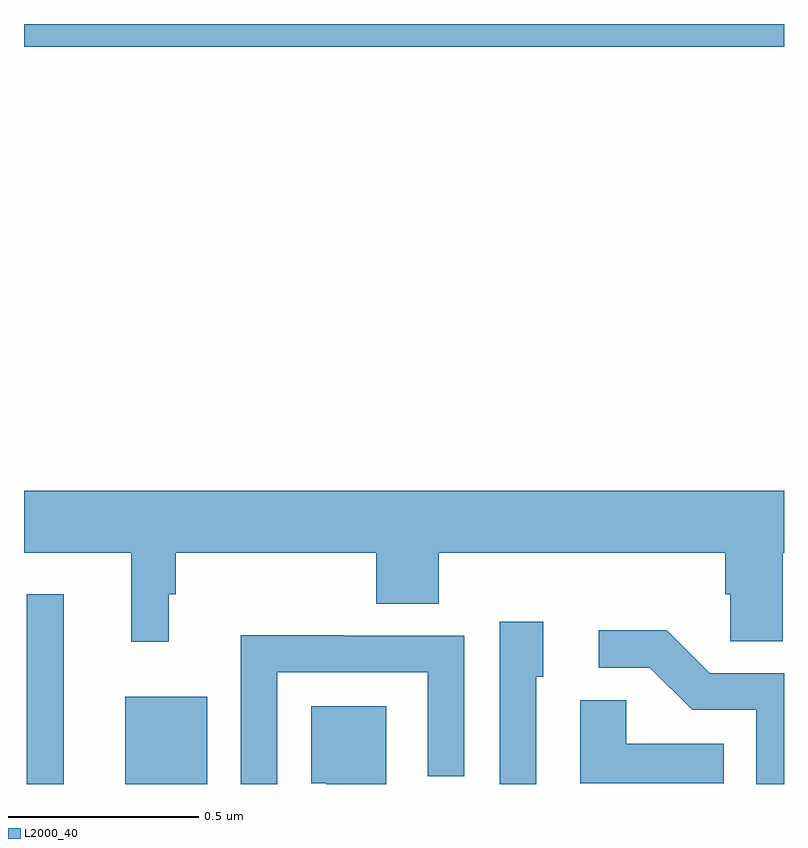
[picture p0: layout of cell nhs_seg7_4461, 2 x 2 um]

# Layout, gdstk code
import gdstk
lib = gdstk.Library(unit=1e-6, precision=1e-09)
def R(c, l, rs):  # rectangles x0, y0, x1, y1
    for r in rs: c.add(gdstk.rectangle(r[:2], r[2:], *l))
def P(c, l, *ps):  # polygons
    for p in ps: c.add(gdstk.Polygon(p, *l))
L2000_40 = (2000, 40)

nhs_seg7_4461 = lib.new_cell('nhs_seg7_4461')
R(nhs_seg7_4461, L2000_40, [(173.007,1008,173.104,1008.499), (173.267,1008,173.482,1008.229), (173,1009.94,175,1010)])
P(nhs_seg7_4461, L2000_40, [(173.381,1008.5),(173.399,1008.5),(173.399,1008.608),(173.927,1008.608),(173.927,1008.475),(174.092,1008.475),(174.092,1008.608),(174.845,1008.608),(174.845,1008.499),(174.858,1008.499),(174.858,1008.376),(174.997,1008.376),(174.997,1008.608),(175,1008.608),(175,1008.772),(173,1008.772),(173,1008.608),(173.282,1008.608),(173.282,1008.375),(173.381,1008.375)],
  [(174.348,1008.282),(174.367,1008.282),(174.367,1008.427),(174.252,1008.427),(174.252,1008),(174.348,1008)],
  [(175,1008.291),(174.804,1008.291),(174.691,1008.404),(174.513,1008.404),(174.513,1008.306),(174.647,1008.306),(174.758,1008.195),(174.927,1008.195),(174.927,1008),(175,1008)],
  [(173.667,1008.294),(174.063,1008.294),(174.063,1008.021),(174.159,1008.021),(174.159,1008.39),(173.843,1008.39),(173.843,1008.392),(173.571,1008.392),(173.571,1008),(173.667,1008)],
  [(174.842,1008.106),(174.585,1008.106),(174.585,1008.221),(174.464,1008.221),(174.464,1008.002),(174.842,1008.002)],
  [(173.953,1008.205),(173.756,1008.205),(173.756,1008.002),(173.795,1008.002),(173.795,1008),(173.953,1008)])

lib.write_gds('nhs_seg7_4461.gds')
